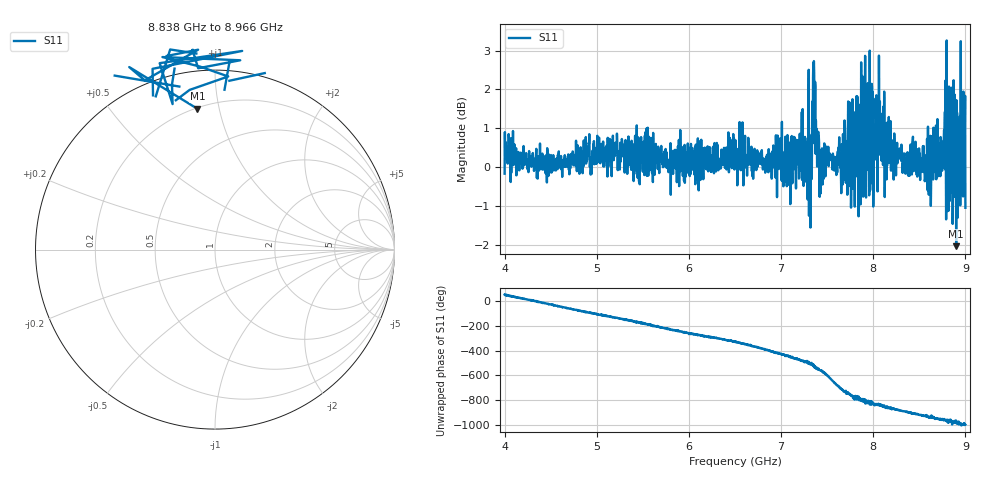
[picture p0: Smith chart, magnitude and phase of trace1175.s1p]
! Created with skrf 1.8.0 (http://scikit-rf.org).
# Hz S RI R 50.0
!freq ReS11 ImS11
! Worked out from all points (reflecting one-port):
!   1601 points, 4 GHz to 9 GHz, reference 50 ohm
!   lowest |S11| = -2.0 dB at 8.9 GHz (marker M1), VSWR 8.55, Z = 10.3 + j43.1 ohm
!   phase of S11 starts at 53 deg and turns -1053 deg over the sweep
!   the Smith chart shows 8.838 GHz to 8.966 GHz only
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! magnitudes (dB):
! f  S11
! 4 GHz  -0.2
! 4.066 GHz  -0.4
! 4.625 GHz  -0.3
! 4.897 GHz  0.5
! 5.25 GHz  -0.1
! 5.875 GHz  0.3
! 6.5 GHz  0.2
! 7.078 GHz  0.3
! 7.125 GHz  0.7
! 7.275 GHz  0.6
! 7.309 GHz  0.0
! 7.362 GHz  1.6
! 7.406 GHz  0.7
! 7.441 GHz  0.3
! 7.75 GHz  0.4
! 7.775 GHz  1.7
! 7.891 GHz  -0.8
! 7.991 GHz  -0.4
! 8.047 GHz  -0.6
! 8.375 GHz  0.1
! 8.45 GHz  0.4
! 8.578 GHz  -0.3
! 8.656 GHz  0.8
! 8.725 GHz  0.6
! 8.775 GHz  1.0
! 8.9 GHz  -2.0
! 8.972 GHz  0.3
! 9 GHz  -1.1
